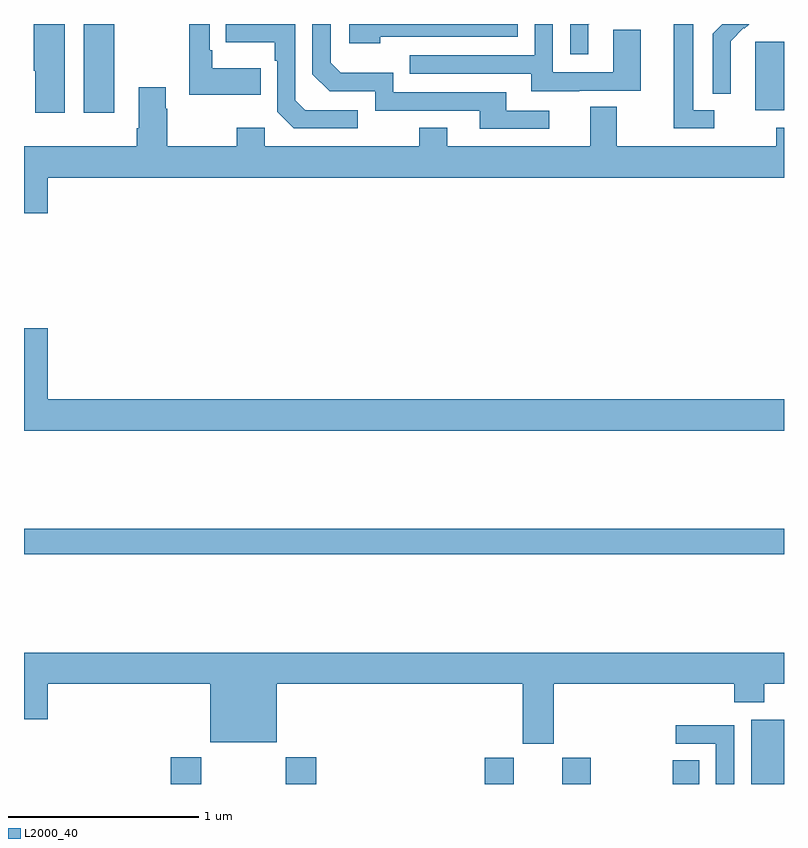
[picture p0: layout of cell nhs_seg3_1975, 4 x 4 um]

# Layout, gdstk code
import gdstk
lib = gdstk.Library(unit=1e-6, precision=1e-09)
def R(c, l, rs):  # rectangles x0, y0, x1, y1
    for r in rs: c.add(gdstk.rectangle(r[:2], r[2:], *l))
def P(c, l, *ps):  # polygons
    for p in ps: c.add(gdstk.Polygon(p, *l))
L2000_40 = (2000, 40)

nhs_seg3_1975 = lib.new_cell('nhs_seg3_1975')
R(nhs_seg3_1975, L2000_40, [(213.773,688.4,213.933,688.54), (214.378,688.4,214.538,688.54), (215.426,688.4,215.578,688.539), (215.834,688.4,215.982,688.539), (216.415,688.4,216.553,688.526), (216.827,688.4,217,688.738), (213,689.608,217,689.744), (213.314,691.932,213.475,692.4), (216.848,691.946,217,692.307)])
P(nhs_seg3_1975, L2000_40, [(215.764,691.944),(215.539,691.944),(215.539,692.04),(214.944,692.04),(214.944,692.143),(214.667,692.143),(214.614,692.196),(214.614,692.4),(214.518,692.4),(214.518,692.136),(214.608,692.046),(214.848,692.046),(214.848,691.944),(215.399,691.944),(215.399,691.848),(215.764,691.848)],
  [(213.214,692.4),(213.052,692.4),(213.052,692.155),(213.059,692.155),(213.059,691.932),(213.214,691.932)],
  [(216.634,691.947),(216.523,691.947),(216.523,692.4),(216.419,692.4),(216.419,691.851),(216.634,691.851)],
  [(215.971,692.397),(215.974,692.4),(215.874,692.4),(215.874,692.241),(215.971,692.241)],
  [(215.923,692.049),(216.247,692.049),(216.247,692.369),(216.102,692.369),(216.102,692.145),(215.784,692.145),(215.784,692.4),(215.688,692.4),(215.688,692.235),(215.029,692.235),(215.029,692.139),(215.669,692.139),(215.669,692.045),(215.923,692.045)],
  [(214.247,692.167),(213.991,692.167),(213.991,692.263),(213.978,692.263),(213.978,692.4),(213.87,692.4),(213.87,692.027),(214.247,692.027)],
  [(214.874,692.334),(215.598,692.334),(215.598,692.4),(214.713,692.4),(214.713,692.3),(214.874,692.3)],
  [(216.72,692.186),(216.719,692.186),(216.719,692.309),(216.789,692.379),(216.792,692.376),(216.816,692.4),(216.674,692.4),(216.624,692.35),(216.624,692.032),(216.72,692.032)],
  [(214.756,691.947),(214.479,691.947),(214.428,691.998),(214.428,692.4),(214.063,692.4),(214.063,692.303),(214.32,692.303),(214.32,692.207),(214.332,692.207),(214.332,691.938),(214.419,691.851),(214.756,691.851)],
  [(213.124,691.592),(217,691.592),(217,691.855),(216.958,691.855),(216.958,691.756),(216.121,691.756),(216.121,691.964),(215.981,691.964),(215.981,691.756),(215.227,691.756),(215.227,691.855),(215.08,691.855),(215.08,691.756),(214.266,691.756),(214.266,691.855),(214.12,691.855),(214.12,691.756),(213.753,691.756),(213.753,691.955),(213.745,691.955),(213.745,692.068),(213.605,692.068),(213.605,691.852),(213.593,691.852),(213.593,691.756),(213,691.756),(213,691.404),(213.124,691.404)],
  [(217,690.424),(213.124,690.424),(213.124,690.799),(213,690.799),(213,690.26),(217,690.26)],
  [(215.788,688.928),(216.737,688.928),(216.737,688.829),(216.897,688.829),(216.897,688.928),(217,688.928),(217,689.092),(213,689.092),(213,688.74),(213.124,688.74),(213.124,688.928),(213.98,688.928),(213.98,688.619),(214.33,688.619),(214.33,688.928),(215.624,688.928),(215.624,688.611),(215.788,688.611)],
  [(216.738,688.71),(216.429,688.71),(216.429,688.611),(216.642,688.611),(216.642,688.4),(216.738,688.4)])

lib.write_gds('nhs_seg3_1975.gds')
